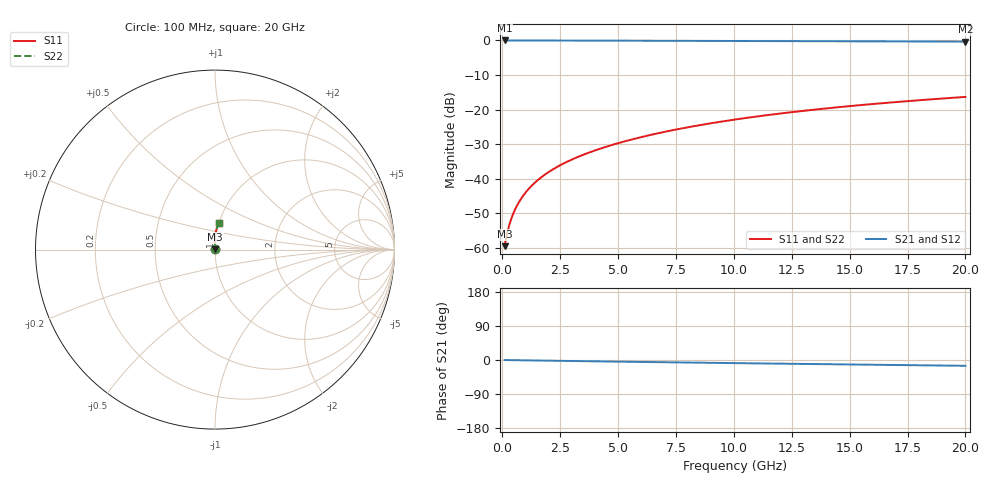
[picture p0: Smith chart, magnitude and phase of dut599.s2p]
! Touchstone file exported from HFSS 2024.1.0
!  File:  C:/UserFiles/LocalFiles/RDL_TSV_Batchsim/temp_RDL_top_599_1779682794.aedt
!  Generated:  12:22:25 PM May 25, 2026
!  Design:  RDL_top
!  Project:  temp_RDL_top_599_1779682794
!  Setup:  Setup1
!  Solution:  Sweep
! Variables:
!  dtsv = 10.80580581um
!  hbump = 3um
!  htsv = 62.1um
!  ldown = 100um
!  lrdl = 206.62um
!  p = 40
!  p1 = 48.23um
!  rhole = 1um
!  t = 450um
!  tdown = 3.915915916um
!  trdl = 4.74um
!  wdown = 15.38538539um
!  wrdl = 24.71um
# GHz S MA R 50.000000
! Terminal data exported
! Port[1] = Box2_T1
! Port[2] = Box2_T2
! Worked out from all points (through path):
!   200 points, 100 MHz to 20 GHz, reference 50 ohm
!   highest |S21| = -0.01 dB at 100 MHz (marker M1); lowest = -0.3 dB at 20 GHz (marker M2)
!   group delay of S21, straight-line fit = 2.1 ps
!   lowest |S11| = -59.5 dB at 100 MHz (marker M3), VSWR 1.00, Z = 50.1 + j0.0693 ohm
!   |S11| at or under -10 dB: start of sweep to end of sweep
!   |S22| runs from -59.5 to -16.3 dB; largest |S21 - S12| = 3.5e-15
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0.1  0.001059 40.8  0.9992 -0.1  0.9992 -0.1  0.001059 40.8
! Gamma 0 0 0 0
! Port Impedance 50 0 50 0
0.2  0.001582 57.3  0.9991 -0.2  0.9991 -0.2  0.001582 57.3
0.3  0.002137 65.4  0.9991 -0.3  0.9991 -0.3  0.002137 65.4
0.4  0.002706 70.5  0.999 -0.4  0.999 -0.4  0.002706 70.5
0.5  0.003285 73.9  0.9989 -0.5  0.9989 -0.5  0.003285 73.9
0.6  0.003873 76.5  0.9989 -0.6  0.9989 -0.6  0.003873 76.5
0.8  0.005069 79.9  0.9988 -0.7  0.9988 -0.7  0.005069 79.9
1.1  0.006891 83.0  0.9986 -1.0  0.9986 -1.0  0.006891 83.0
1.5  0.009357 85.5  0.9982 -1.4  0.9982 -1.4  0.009357 85.5
1.8  0.01123 86.7  0.9979 -1.6  0.9979 -1.6  0.01123 86.7
2.1  0.01312 87.6  0.9975 -1.9  0.9975 -1.9  0.01312 87.6
2.7  0.01696 89.0  0.9966 -2.4  0.9966 -2.4  0.01696 89.0
3.5  0.02224 90.3  0.9952 -3.1  0.9952 -3.1  0.02224 90.3
4.2  0.02702 91.0  0.9938 -3.7  0.9938 -3.7  0.02702 91.0
5  0.03266 91.5  0.992 -4.4  0.992 -4.4  0.03266 91.5
6.8  0.04604 91.7  0.9879 -5.8  0.9879 -5.8  0.04604 91.7
8.4  0.05854 91.2  0.9843 -7.0  0.9843 -7.0  0.05854 91.2
10.1  0.07221 90.1  0.9806 -8.3  0.9806 -8.3  0.07221 90.1
11.7  0.08526 88.8  0.9773 -9.4  0.9773 -9.4  0.08526 88.8
13.4  0.09918 87.4  0.9739 -10.7  0.9739 -10.7  0.09918 87.4
16.7  0.1261 84.4  0.9676 -13.0  0.9676 -13.0  0.1261 84.4
20  0.1524 81.4  0.9615 -15.3  0.9615 -15.3  0.1524 81.4
